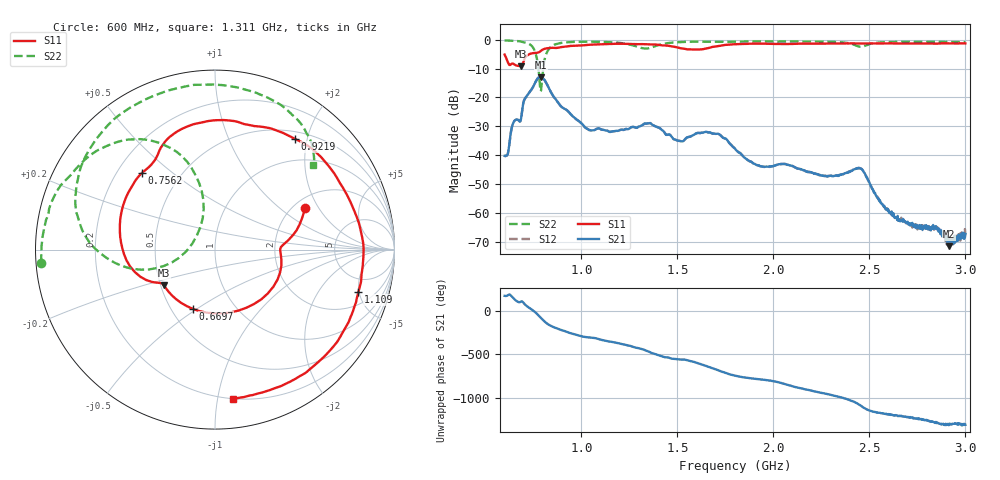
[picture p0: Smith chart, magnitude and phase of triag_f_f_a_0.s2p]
#  HZ  S  RI  R  50.00
! Rohde & Schwarz ZVB8 2Ports - Version 2.81 - 1145.1010k08 SN: 100113
! Date: 2016-05-03 01:38:02
! Measurements: S11 S21 S12 S22
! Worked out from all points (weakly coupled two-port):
!   1000 points, 600 MHz to 3 GHz, reference 50 ohm
!   highest |S21| = -12.99 dB at 787.4 MHz (marker M1); lowest = -71.6 dB at 2.914 GHz (marker M2)
!   lowest |S11| = -9.2 dB at 686.5 MHz (marker M3), VSWR 2.06, Z = 26 - j11.8 ohm
!   |S11| at or under -10 dB: nowhere
!   |S22| runs from -17.9 to -0.3 dB; largest |S21 - S12| = 0.0032
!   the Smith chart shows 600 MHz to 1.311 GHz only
!   S11 on the Smith chart (normalised r, x): 600 MHz: 2.29, +1.54; 669.7 MHz: 0.64, -0.48; 756.2 MHz: 0.30, +0.40; 921.9 MHz: 0.61, +1.80; 1.109 GHz: 3.18, -4.91; 1.311 GHz: 0.20, -1.11
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6e8  0.5014 0.2328  -0.0096 0.00127  -0.00956 0.00129  -0.9677 -0.0742
6.696697e8  -0.1243 -0.3299  -0.00936 0.0397  -0.00947 0.0395  -0.9038 0.2802
6.864865e8  -0.2839 -0.1996  -0.0142 0.0422  -0.0145 0.042  -0.8479 0.3709
7.561562e8  -0.4057 0.428  0.17 -0.0276  0.1701 -0.0263  -0.2845 0.583
7.873874e8  -0.309 0.5535  0.0497 -0.2185  0.0503 -0.2172  -0.1017 0.0767
8.09009e8  -0.1886 0.6705  -0.1103 -0.1636  -0.1097 -0.1641  -0.4518 -0.1082
8.426426e8  0.034 0.7221  -0.1204 -0.012  -0.1199 -0.0121  -0.7474 0.1286
9.219219e8  0.4461 0.6161  -0.0306 0.0525  -0.0308 0.0522  -0.6726 0.5996
1.001201e9  0.7311 0.3127  0.013 0.0328  0.0128 0.0328  -0.4069 0.8267
1.109309e9  0.7988 -0.2361  0.025 0.0114  0.0249 0.0114  0.0281 0.9176
1.311111e9  0.0981 -0.832  0.00743 -0.0314  0.00757 -0.0314  0.5452 0.471
1.4e9  -0.2961 -0.7609  -0.0256 -0.0162  -0.0256 -0.0162  0.6757 0.4404
1.565766e9  -0.5912 -0.3306  -0.0169 0.0122  -0.0169 0.0121  0.9081 -0.1616
1.712312e9  -0.7736 -0.0503  0.0184 0.0145  0.0182 0.0145  0.6545 -0.6414
1.801201e9  -0.7846 0.285  0.0115 -0.00539  0.0115 -0.00533  0.4211 -0.821
2.000601e9  -0.2465 0.8082  0.000161 -0.00642  0.000252 -0.00646  -0.1986 -0.909
2.2e9  0.4885 0.6999  -0.00478 0.00156  -0.00475 0.00151  -0.6788 -0.6332
2.454655e9  0.8232 -0.2507  0.00578 -0.000866  0.00578 -0.000915  -0.7487 -0.083
2.601201e9  0.4612 -0.7281  -0.000324 -0.000993  -0.000341 -0.000989  -0.8968 0.1629
2.738138e9  -0.0487 -0.8578  -0.000563 -0.000223  -0.000542 -0.000223  -0.7836 0.4786
2.913514e9  -0.6074 -0.6144  -0.000156 0.000211  -0.000199 0.000213  -0.506 0.7616
3e9  -0.7801 -0.3671  -0.000275 0.000324  -0.00024 0.000329  -0.317 0.8517
